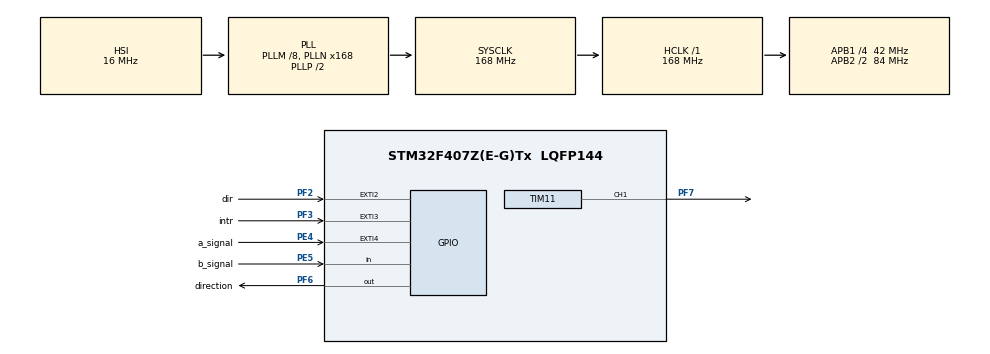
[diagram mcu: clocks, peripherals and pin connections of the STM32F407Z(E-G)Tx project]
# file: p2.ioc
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Mcu.Family=STM32F4
Mcu.Name=STM32F407Z(E-G)Tx
Mcu.Package=LQFP144
NVIC.EXTI2_IRQn=true\:0\:0\:false\:false\:true\:true\:true\:true
NVIC.EXTI3_IRQn=true\:0\:0\:false\:false\:true\:true\:true\:true
NVIC.EXTI4_IRQn=true\:0\:0\:false\:false\:true\:true\:true\:true
NVIC.PriorityGroup=NVIC_PRIORITYGROUP_4
NVIC.TIM7_IRQn=true\:0\:0\:false\:false\:true\:true\:true\:true
PA13.Mode=Serial_Wire
PA13.Signal=SYS_JTMS-SWDIO
PA14.Mode=Serial_Wire
PA14.Signal=SYS_JTCK-SWCLK
PE4.GPIO_Label=a_signal
PE4.Signal=GPXTI4
PE5.GPIO_Label=b_signal
PE5.Signal=GPIO_Input
PF2.GPIO_Label=dir
PF2.Signal=GPXTI2
PF3.GPIO_Label=intr
PF3.Signal=GPXTI3
PF6.GPIO_Label=direction
PF6.Signal=GPIO_Output
PF7.Signal=S_TIM11_CH1
PH0-OSC_IN.Mode=HSE-External-Oscillator
PH0-OSC_IN.Signal=RCC_OSC_IN
PH1-OSC_OUT.Mode=HSE-External-Oscillator
PH1-OSC_OUT.Signal=RCC_OSC_OUT
ProjectManager.HeapSize=0x200
ProjectManager.StackSize=0x400
ProjectManager.TargetToolchain=STM32CubeIDE
RCC.48MHZClocksFreq_Value=84000000
RCC.AHBFreq_Value=168000000
RCC.APB1CLKDivider=RCC_HCLK_DIV4
RCC.APB1Freq_Value=42000000
RCC.APB1TimFreq_Value=84000000
RCC.APB2CLKDivider=RCC_HCLK_DIV2
RCC.APB2Freq_Value=84000000
RCC.APB2TimFreq_Value=168000000
RCC.CortexFreq_Value=168000000
RCC.HCLKFreq_Value=168000000
RCC.HSE_VALUE=8000000
RCC.HSI_VALUE=16000000
RCC.LSE_VALUE=32768
RCC.PLLM=8
RCC.PLLN=168
RCC.SYSCLKFreq_VALUE=168000000
RCC.SYSCLKSource=RCC_SYSCLKSOURCE_PLLCLK
RCC.VCOOutputFreq_Value=336000000
SH.S_TIM11_CH1.0=TIM11_CH1,PWM Generation1 CH1
TIM11.Channel=TIM_CHANNEL_1
TIM11.Period=399
TIM11.Prescaler=0
TIM7.Period=999
TIM7.Prescaler=6399
TIM7.TIM_MasterOutputTrigger=TIM_TRGO_UPDATE
VP_TIM11_VS_ClockSourceINT.Mode=Enable_Timer
VP_TIM7_VS_ClockSourceINT.Mode=Enable_Timer
board=custom

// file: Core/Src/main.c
/* USER CODE BEGIN Header */
/**
  ******************************************************************************
  * @file           : main.c
  * @brief          : Main program body
  ******************************************************************************
  * @attention
  *
  * Copyright (c) 2023 STMicroelectronics.
  * All rights reserved.
  *
  * This software is licensed under terms that can be found in the LICENSE file
  * in the root directory of this software component.
  * If no LICENSE file comes with this software, it is provided AS-IS.
  *
  ******************************************************************************
  */
/* USER CODE END Header */
#include "main.h"

 TIM_HandleTypeDef htim7;
TIM_HandleTypeDef htim11;

/* USER CODE BEGIN PV */
uint16_t pulse_number = 0;
uint16_t rpm = 0;
uint8_t direction = 0;
uint16_t position_pulse = 0;
uint16_t position = 0;
uint8_t dir_control = 0;
int temp = 0;
/* USER CODE END PV */

void SystemClock_Config(void);
static void MX_GPIO_Init(void);
static void MX_TIM11_Init(void);
static void MX_TIM7_Init(void);

int main(void)
{

  /* MCU Configuration--------------------------------------------------------*/

  /* Reset of all peripherals, Initializes the Flash interface and the Systick. */
  HAL_Init();

  /* Configure the system clock */
  SystemClock_Config();

  /* Initialize all configured peripherals */
  MX_GPIO_Init();
  MX_TIM11_Init();
  MX_TIM7_Init();
  /* USER CODE BEGIN 2 */

  HAL_TIM_Base_Start_IT(&htim7);
  TIM11->PSC = 55;
  TIM11->ARR = 199;
  TIM11->CCR1 = 99;
  HAL_TIM_PWM_Start(&htim11, TIM_CHANNEL_1);
  /* USER CODE END 2 */

  /* Infinite loop */
  while (1)
  {

  }
}

void SystemClock_Config(void)
{
  RCC_OscInitTypeDef RCC_OscInitStruct = {0};
  RCC_ClkInitTypeDef RCC_ClkInitStruct = {0};

  /** Configure the main internal regulator output voltage
  */
  __HAL_RCC_PWR_CLK_ENABLE();
  __HAL_PWR_VOLTAGESCALING_CONFIG(PWR_REGULATOR_VOLTAGE_SCALE1);

  /** Initializes the RCC Oscillators according to the specified parameters
  * in the RCC_OscInitTypeDef structure.
  */
  RCC_OscInitStruct.OscillatorType = RCC_OSCILLATORTYPE_HSI;
  RCC_OscInitStruct.HSIState = RCC_HSI_ON;
  RCC_OscInitStruct.HSICalibrationValue = RCC_HSICALIBRATION_DEFAULT;
  RCC_OscInitStruct.PLL.PLLState = RCC_PLL_ON;
  RCC_OscInitStruct.PLL.PLLSource = RCC_PLLSOURCE_HSI;
  RCC_OscInitStruct.PLL.PLLM = 8;
  RCC_OscInitStruct.PLL.PLLN = 168;
  RCC_OscInitStruct.PLL.PLLP = RCC_PLLP_DIV2;
  RCC_OscInitStruct.PLL.PLLQ = 4;
  if (HAL_RCC_OscConfig(&RCC_OscInitStruct) != HAL_OK)
  {
    Error_Handler();
  }

  /** Initializes the CPU, AHB and APB buses clocks
  */
  RCC_ClkInitStruct.ClockType = RCC_CLOCKTYPE_HCLK|RCC_CLOCKTYPE_SYSCLK
                              |RCC_CLOCKTYPE_PCLK1|RCC_CLOCKTYPE_PCLK2;
  RCC_ClkInitStruct.SYSCLKSource = RCC_SYSCLKSOURCE_PLLCLK;
  RCC_ClkInitStruct.AHBCLKDivider = RCC_SYSCLK_DIV1;
  RCC_ClkInitStruct.APB1CLKDivider = RCC_HCLK_DIV4;
  RCC_ClkInitStruct.APB2CLKDivider = RCC_HCLK_DIV2;

  if (HAL_RCC_ClockConfig(&RCC_ClkInitStruct, FLASH_LATENCY_5) != HAL_OK)
  {
    Error_Handler();
  }
}

static void MX_TIM7_Init(void)
{

  TIM_MasterConfigTypeDef sMasterConfig = {0};

  htim7.Instance = TIM7;
  htim7.Init.Prescaler = 6399;
  htim7.Init.CounterMode = TIM_COUNTERMODE_UP;
  htim7.Init.Period = 999;
  htim7.Init.AutoReloadPreload = TIM_AUTORELOAD_PRELOAD_DISABLE;
  if (HAL_TIM_Base_Init(&htim7) != HAL_OK)
  {
    Error_Handler();
  }
  sMasterConfig.MasterOutputTrigger = TIM_TRGO_UPDATE;
  sMasterConfig.MasterSlaveMode = TIM_MASTERSLAVEMODE_DISABLE;
  if (HAL_TIMEx_MasterConfigSynchronization(&htim7, &sMasterConfig) != HAL_OK)
  {
    Error_Handler();
  }

}

static void MX_TIM11_Init(void)
{

  TIM_OC_InitTypeDef sConfigOC = {0};

  htim11.Instance = TIM11;
  htim11.Init.Prescaler = 0;
  htim11.Init.CounterMode = TIM_COUNTERMODE_UP;
  htim11.Init.Period = 399;
  htim11.Init.ClockDivision = TIM_CLOCKDIVISION_DIV1;
  htim11.Init.AutoReloadPreload = TIM_AUTORELOAD_PRELOAD_DISABLE;
  if (HAL_TIM_Base_Init(&htim11) != HAL_OK)
  {
    Error_Handler();
  }
  if (HAL_TIM_PWM_Init(&htim11) != HAL_OK)
  {
    Error_Handler();
  }
  sConfigOC.OCMode = TIM_OCMODE_PWM1;
  sConfigOC.Pulse = 0;
  sConfigOC.OCPolarity = TIM_OCPOLARITY_HIGH;
  sConfigOC.OCFastMode = TIM_OCFAST_DISABLE;
  if (HAL_TIM_PWM_ConfigChannel(&htim11, &sConfigOC, TIM_CHANNEL_1) != HAL_OK)
  {
    Error_Handler();
  }
  HAL_TIM_MspPostInit(&htim11);

}

static void MX_GPIO_Init(void)
{
  GPIO_InitTypeDef GPIO_InitStruct = {0};

  /* GPIO Ports Clock Enable */
  __HAL_RCC_GPIOE_CLK_ENABLE();
  __HAL_RCC_GPIOF_CLK_ENABLE();
  __HAL_RCC_GPIOH_CLK_ENABLE();
  __HAL_RCC_GPIOA_CLK_ENABLE();

  /*Configure GPIO pin Output Level */
  HAL_GPIO_WritePin(direction_GPIO_Port, direction_Pin, GPIO_PIN_RESET);

  /*Configure GPIO pin : a_signal_Pin */
  GPIO_InitStruct.Pin = a_signal_Pin;
  GPIO_InitStruct.Mode = GPIO_MODE_IT_RISING;
  GPIO_InitStruct.Pull = GPIO_NOPULL;
  HAL_GPIO_Init(a_signal_GPIO_Port, &GPIO_InitStruct);

  /*Configure GPIO pin : b_signal_Pin */
  GPIO_InitStruct.Pin = b_signal_Pin;
  GPIO_InitStruct.Mode = GPIO_MODE_INPUT;
  GPIO_InitStruct.Pull = GPIO_NOPULL;
  HAL_GPIO_Init(b_signal_GPIO_Port, &GPIO_InitStruct);

  /*Configure GPIO pins : dir_Pin intr_Pin */
  GPIO_InitStruct.Pin = dir_Pin|intr_Pin;
  GPIO_InitStruct.Mode = GPIO_MODE_IT_RISING;
  GPIO_InitStruct.Pull = GPIO_NOPULL;
  HAL_GPIO_Init(GPIOF, &GPIO_InitStruct);

  /*Configure GPIO pin : direction_Pin */
  GPIO_InitStruct.Pin = direction_Pin;
  GPIO_InitStruct.Mode = GPIO_MODE_OUTPUT_PP;
  GPIO_InitStruct.Pull = GPIO_NOPULL;
  GPIO_InitStruct.Speed = GPIO_SPEED_FREQ_LOW;
  HAL_GPIO_Init(direction_GPIO_Port, &GPIO_InitStruct);

  /* EXTI interrupt init*/
  HAL_NVIC_SetPriority(EXTI2_IRQn, 0, 0);
  HAL_NVIC_EnableIRQ(EXTI2_IRQn);

  HAL_NVIC_SetPriority(EXTI3_IRQn, 0, 0);
  HAL_NVIC_EnableIRQ(EXTI3_IRQn);

  HAL_NVIC_SetPriority(EXTI4_IRQn, 0, 0);
  HAL_NVIC_EnableIRQ(EXTI4_IRQn);

}

/* USER CODE BEGIN 4 */
void HAL_TIM_PeriodElapsedCallback(TIM_HandleTypeDef *htim){
	if(htim -> Instance == TIM11){
		rpm = (pulse_number*600)/400 ;
		position = position_pulse % 400;
		pulse_number = 0;
	}
}
void HAL_GPIO_EXIT_Callback(uint16_t GPIO_Pin){
	if(GPIO_Pin == a_signal_Pin){
		pulse_number++;

		if(HAL_GPIO_ReadPin(b_signal_GPIO_Port,b_signal_Pin) == GPIO_PIN_SET){
			direction = 1;
			position_pulse--;
		}
		else {
			direction = 0;
				position_pulse++;
		}
	}

	if(GPIO_Pin == GPIO_PIN_2){
		temp ++;
		if(dir_control == 0){
			HAL_GPIO_WritePin(direction_GPIO_Port, direction_Pin, GPIO_PIN_SET);
			dir_control = 1;
		}
		else{
			HAL_GPIO_WritePin(direction_GPIO_Port, direction_Pin, GPIO_PIN_RESET);
			dir_control = 0;
		}
	}
}
/* USER CODE END 4 */

void Error_Handler(void)
{
  __disable_irq();
  while (1)
  {
  }
}
